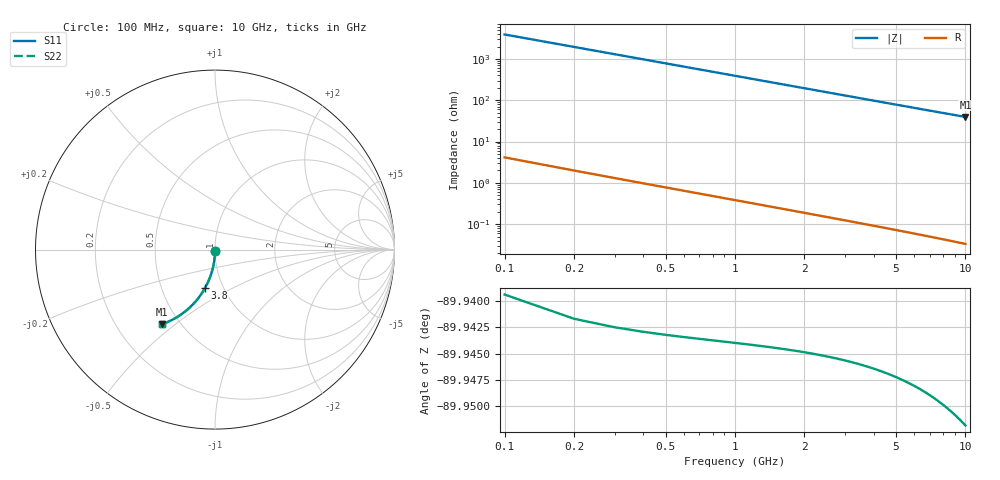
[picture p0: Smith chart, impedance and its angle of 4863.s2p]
# Hz S RI R 50.00
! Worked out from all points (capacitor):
!   100 points, 100 MHz to 10 GHz, reference 50 ohm
!   read as one part in shunt: C = 407 fF near 100 MHz
!   lowest |Z| = 39.5 ohm at 10 GHz (marker M1)
!   S11 on the Smith chart (normalised r, x): 100 MHz: 1.00, -0.01; 3.8 GHz: 0.82, -0.37; 10 GHz: 0.40, -0.45
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1e8  0.000197 -0.00599  0.9997 -0.0068  0.9997 -0.0068  0.000197 -0.00599
2e8  7.03e-05 -0.012  0.9996 -0.0136  0.9996 -0.0136  7.03e-05 -0.012
3e8  -0.000138 -0.018  0.9994 -0.0204  0.9994 -0.0204  -0.000138 -0.018
4e8  -0.000428 -0.0239  0.9991 -0.0272  0.9991 -0.0272  -0.000428 -0.0239
5e8  -0.000799 -0.0299  0.9987 -0.0339  0.9987 -0.0339  -0.000799 -0.0299
6e8  -0.00125 -0.0359  0.9982 -0.0407  0.9982 -0.0407  -0.00125 -0.0359
7e8  -0.00178 -0.0418  0.9977 -0.0475  0.9977 -0.0475  -0.00178 -0.0418
8e8  -0.0024 -0.0478  0.9971 -0.0542  0.9971 -0.0542  -0.0024 -0.0478
9e8  -0.00309 -0.0537  0.9964 -0.061  0.9964 -0.061  -0.00309 -0.0537
1.1e9  -0.00472 -0.0655  0.9947 -0.0744  0.9947 -0.0744  -0.00472 -0.0655
1.4e9  -0.00775 -0.0832  0.9917 -0.0945  0.9917 -0.0945  -0.00775 -0.0832
1.8e9  -0.0129 -0.1064  0.9865 -0.1209  0.9865 -0.1209  -0.0129 -0.1064
2.1e9  -0.0175 -0.1235  0.9818 -0.1404  0.9818 -0.1404  -0.0175 -0.1235
2.5e9  -0.0248 -0.1459  0.9745 -0.1661  0.9745 -0.1661  -0.0248 -0.1459
2.9e9  -0.0331 -0.1677  0.9661 -0.1912  0.9661 -0.1912  -0.0331 -0.1677
3.4e9  -0.0451 -0.1942  0.954 -0.2217  0.954 -0.2217  -0.0451 -0.1942
3.8e9  -0.0557 -0.2145  0.9433 -0.2452  0.9433 -0.2452  -0.0557 -0.2145
4.4e9  -0.0735 -0.2435  0.9254 -0.2792  0.9254 -0.2792  -0.0735 -0.2435
5.1e9  -0.0965 -0.275  0.9021 -0.3163  0.9021 -0.3163  -0.0965 -0.275
6.7e9  -0.1563 -0.3363  0.8417 -0.3908  0.8417 -0.3908  -0.1563 -0.3363
8.4e9  -0.2265 -0.3848  0.7706 -0.4533  0.7706 -0.4533  -0.2265 -0.3848
1e10  -0.2946 -0.4153  0.7014 -0.4972  0.7014 -0.4972  -0.2946 -0.4153
